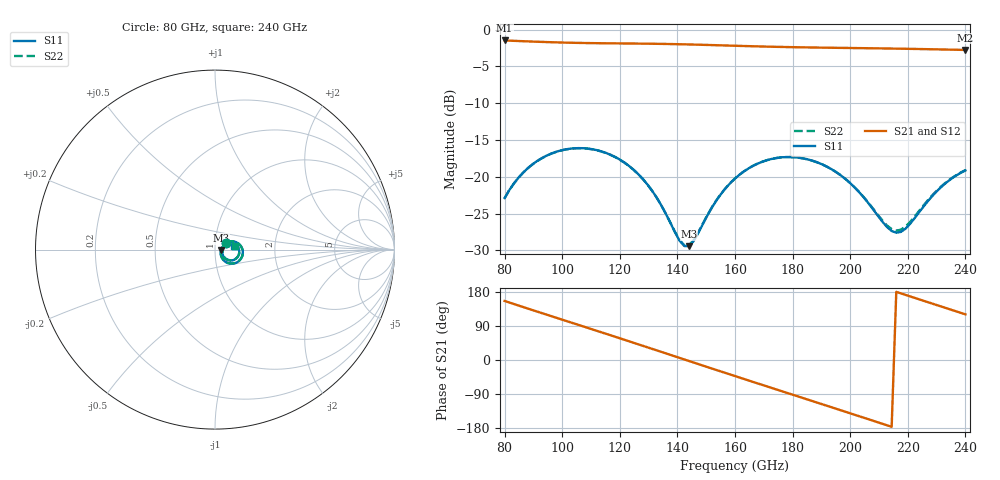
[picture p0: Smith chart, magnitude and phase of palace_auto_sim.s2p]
#  GHZ S DB R 50
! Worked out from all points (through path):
!   101 points, 80 GHz to 240 GHz, reference 50 ohm
!   highest |S21| = -1.48 dB at 80 GHz (marker M1); lowest = -2.8 dB at 240 GHz (marker M2)
!   group delay of S21, straight-line fit = 6.87 ps
!   lowest |S11| = -29.4 dB at 144 GHz (marker M3), VSWR 1.07, Z = 53.5 - j0.348 ohm
!   |S11| at or under -10 dB: start of sweep to end of sweep
!   |S22| runs from -29.3 to -16.1 dB; largest |S21 - S12| = 1.3e-13
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80  -22.89 33.0  -1.48 155.8  -1.48 155.8  -22.90 33.2
86.4  -19.45 26.0  -1.58 139.9  -1.58 139.9  -19.46 26.2
94.4  -17.16 12.3  -1.70 120.2  -1.70 120.2  -17.18 12.6
100.8  -16.31 0.2  -1.77 104.5  -1.77 104.5  -16.33 0.5
107.2  -16.12 -12.2  -1.83 88.8  -1.83 88.8  -16.14 -11.9
113.6  -16.55 -24.5  -1.86 73.1  -1.86 73.1  -16.57 -24.1
120  -17.67 -36.2  -1.89 57.3  -1.89 57.3  -17.68 -35.7
128  -20.30 -48.1  -1.92 37.5  -1.92 37.5  -20.31 -47.5
134.4  -23.88 -51.0  -1.95 21.4  -1.95 21.4  -23.87 -50.1
140.8  -28.70 -31.0  -2.00 5.4  -2.00 5.4  -28.62 -30.0
144  -29.43 -5.5  -2.03 -2.6  -2.03 -2.6  -29.30 -5.0
152  -24.17 26.3  -2.11 -22.6  -2.11 -22.6  -24.13 26.4
160  -20.24 22.0  -2.20 -42.4  -2.20 -42.4  -20.23 22.2
168  -18.19 10.1  -2.29 -62.1  -2.29 -62.1  -18.19 10.4
174.4  -17.45 -0.8  -2.35 -77.8  -2.35 -77.8  -17.45 -0.4
187.2  -17.86 -22.8  -2.44 -109.2  -2.44 -109.2  -17.86 -22.1
193.6  -18.99 -32.4  -2.48 -124.9  -2.48 -124.9  -18.99 -31.6
201.6  -21.47 -40.4  -2.52 -144.6  -2.52 -144.6  -21.45 -39.3
214.4  -27.37 -19.3  -2.58 -176.3  -2.58 -176.3  -27.11 -18.1
219.2  -27.06 4.5  -2.61 171.8  -2.61 171.8  -26.77 4.6
227.2  -23.21 20.9  -2.67 152.0  -2.67 152.0  -23.08 20.4
240  -19.14 10.4  -2.77 120.5  -2.77 120.5  -19.11 10.2
